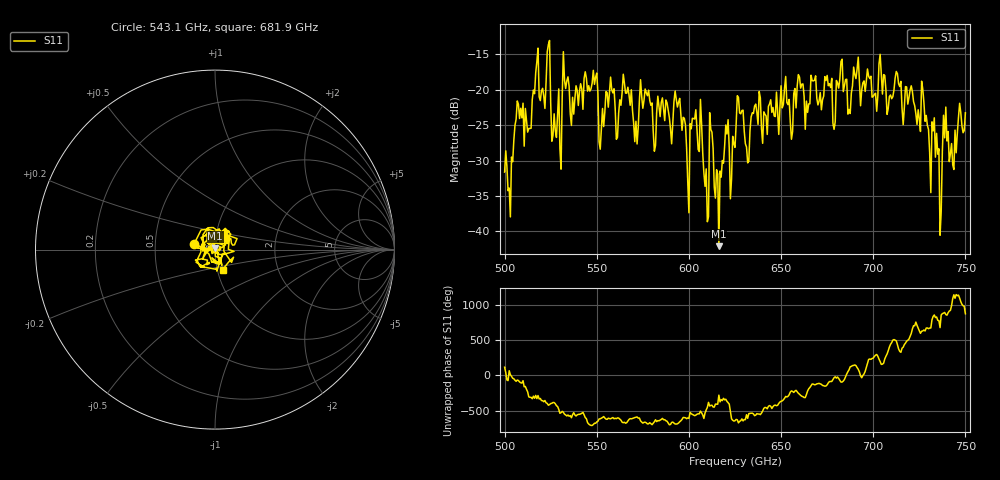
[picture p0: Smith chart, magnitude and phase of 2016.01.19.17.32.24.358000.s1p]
!Created with skrf (http://scikit-rf.org).
# GHz S RI R 50.0
!freq ReS11 ImS11
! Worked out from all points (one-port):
!   401 points, 500 GHz to 750 GHz, reference 50 ohm
!   lowest |S11| = -42.1 dB at 616.2 GHz (marker M1), VSWR 1.02, Z = 50.1 + j0.779 ohm
!   |S11| at or under -10 dB: start of sweep to end of sweep
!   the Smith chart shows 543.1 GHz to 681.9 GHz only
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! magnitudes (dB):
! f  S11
! 500 GHz  -31.6
! 503.1 GHz  -38.0
! 507.5 GHz  -22.0
! 513.1 GHz  -25.5
! 516.9 GHz  -17.6
! 523.8 GHz  -13.6
! 526.9 GHz  -23.4
! 531.2 GHz  -21.0
! 533.1 GHz  -19.8
! 548.8 GHz  -19.2
! 552.5 GHz  -25.4
! 562.5 GHz  -21.4
! 593.8 GHz  -22.4
! 598.8 GHz  -28.3
! 603.1 GHz  -24.1
! 609.4 GHz  -31.2
! 612.5 GHz  -26.0
! 616.2 GHz  -42.1
! 625 GHz  -28.1
! 656.2 GHz  -25.9
! 687.5 GHz  -23.3
! 690.6 GHz  -18.4
! 718.8 GHz  -22.0
! 727.5 GHz  -21.8
! 736.2 GHz  -40.5
! 739.4 GHz  -22.4
! 742.5 GHz  -27.6
! 750 GHz  -23.2
